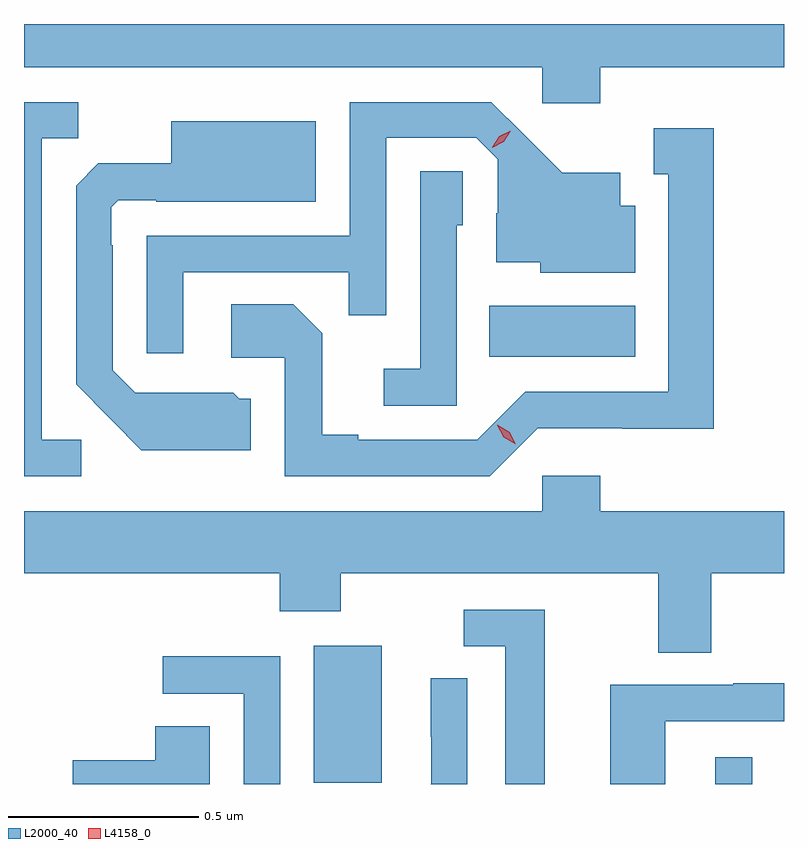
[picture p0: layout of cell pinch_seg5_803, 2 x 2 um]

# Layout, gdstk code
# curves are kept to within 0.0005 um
import gdstk
lib = gdstk.Library(unit=1e-6, precision=1e-09)
def R(c, l, rs):  # rectangles x0, y0, x1, y1
    for r in rs: c.add(gdstk.rectangle(r[:2], r[2:], *l))
def P(c, l, *ps):  # polygons
    for p in ps: c.add(gdstk.Polygon(p, *l))
L2000_40 = (2000, 40)
L4158_0 = (4158, 0)

pinch_seg5_803 = lib.new_cell('pinch_seg5_803')
R(pinch_seg5_803, L2000_40, [(767.333,904.158,767.43,904.228), (766.277,904.161,766.456,904.522), (766.738,905.282,767.122,905.416)])
P(pinch_seg5_803, L2000_40, [(767.03,906.044),(767.514,906.044),(767.514,906.158),(765.514,906.158),(765.514,906.044),(766.878,906.044),(766.878,905.949),(767.03,905.949)],
  [(765.664,905.064),(765.561,905.064),(765.561,905.857),(765.657,905.857),(765.657,905.952),(765.514,905.952),(765.514,904.968),(765.664,904.968)],
  [(765.933,905.505),(766.369,905.505),(766.369,905.392),(766.467,905.392),(766.467,905.859),(766.704,905.859),(766.761,905.802),(766.761,905.66),(766.757,905.66),(766.757,905.531),(766.872,905.531),(766.872,905.504),(767.122,905.504),(767.122,905.68),(767.083,905.68),(767.083,905.767),(766.931,905.767),(766.744,905.952),(766.371,905.952),(766.371,905.601),(765.837,905.601),(765.837,905.292),(765.933,905.292)],
  [(766.111,905.172),(766.08,905.172),(766.064,905.188),(765.93,905.188),(765.93,905.187),(765.807,905.187),(765.747,905.247),(765.747,905.576),(765.744,905.576),(765.744,905.676),(765.762,905.694),(765.862,905.694),(765.862,905.69),(766.282,905.69),(766.282,905.902),(765.902,905.902),(765.902,905.791),(765.71,905.791),(765.651,905.732),(765.651,905.21),(765.823,905.036),(766.111,905.036)],
  [(766.866,905.094),(767.088,905.094),(767.088,905.093),(767.329,905.093),(767.329,905.884),(767.171,905.884),(767.171,905.763),(767.21,905.763),(767.21,905.19),(766.833,905.19),(766.707,905.064),(766.393,905.064),(766.393,905.077),(766.299,905.077),(766.299,905.344),(766.223,905.42),(766.059,905.42),(766.059,905.28),(766.2,905.28),(766.2,904.968),(766.74,904.968)],
  [(766.653,905.628),(766.668,905.628),(766.668,905.771),(766.557,905.771),(766.557,905.251),(766.461,905.251),(766.461,905.154),(766.653,905.154)],
  [(767.323,904.712),(767.514,904.712),(767.514,904.876),(767.03,904.876),(767.03,904.969),(766.878,904.969),(766.878,904.876),(765.514,904.876),(765.514,904.712),(766.187,904.712),(766.187,904.613),(766.347,904.613),(766.347,904.712),(767.183,904.712),(767.183,904.504),(767.323,904.504)],
  [(766.885,904.617),(766.671,904.617),(766.671,904.521),(766.781,904.521),(766.781,904.158),(766.885,904.158)],
  [(766.188,904.494),(765.879,904.494),(765.879,904.395),(766.092,904.395),(766.092,904.158),(766.188,904.158)],
  [(766.68,904.436),(766.584,904.436),(766.584,904.282),(766.586,904.282),(766.586,904.16),(766.584,904.158),(766.68,904.158)],
  [(767.202,904.323),(767.514,904.323),(767.514,904.423),(767.381,904.423),(767.381,904.419),(767.057,904.419),(767.057,904.158),(767.202,904.158)],
  [(766.003,904.31),(765.86,904.31),(765.86,904.22),(765.642,904.22),(765.642,904.158),(766.003,904.158)])
P(pinch_seg5_803, L4158_0, [(766.808,905.052),(766.777,905.07),(766.76,905.102),(766.76,905.103),(766.76,905.103),(766.792,905.084),(766.808,905.052),(766.808,905.052)],
  [(766.746,905.833),(766.746,905.834),(766.764,905.863),(766.795,905.877),(766.795,905.877),(766.795,905.877),(766.777,905.848),(766.746,905.833)])

lib.write_gds('pinch_seg5_803.gds')
